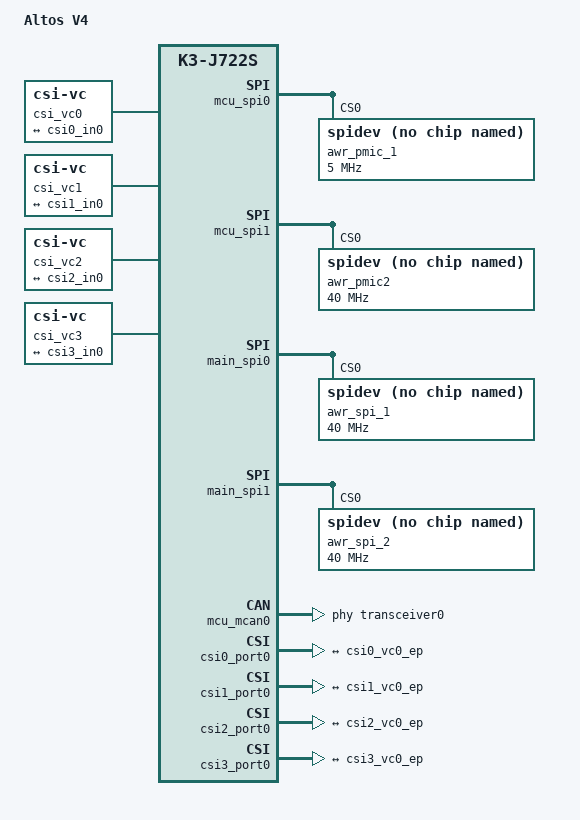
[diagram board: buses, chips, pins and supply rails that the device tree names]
// SPDX-License-Identifier: GPL-2.0-only OR MIT
/*
 * Device Tree file for Altos V4
 * Copyright (C) 2025 Altos Radar
 */

/dts-v1/;

#include "k3-j722s-altos-v3-base.dtsi"

/ {
	model = "Altos V4";
	csi_vc0: csi-vc0 {
		compatible = "csi-vc";
		port {
			csi0_vc0_ep: endpoint {
				remote-endpoint = <&csi0_in0>;
				clock-lanes = <0>;
				data-lanes = <1 2 3 4>;
			};
		};
	};

	csi_vc1: csi-vc1 {
		compatible = "csi-vc";
		port {
			csi1_vc0_ep: endpoint {
				remote-endpoint = <&csi1_in0>;
				clock-lanes = <0>;
				data-lanes = <1 2 3 4>;
			};
		};
	};

	csi_vc2: csi-vc2 {
		compatible = "csi-vc";
		port {
			csi2_vc0_ep: endpoint {
				remote-endpoint = <&csi2_in0>;
				clock-lanes = <0>;
				data-lanes = <1 2 3 4>;
			};
		};
	};

	csi_vc3: csi-vc3 {
		compatible = "csi-vc";
		port {
			csi3_vc0_ep: endpoint {
				remote-endpoint = <&csi3_in0>;
				clock-lanes = <0>;
				data-lanes = <1 2 3 4>;
			};
		};
	};
};

&main_pmx0 {
	main_spi0_pins_default: main-spi0-default-pins {
		pinctrl-single,pins = <
			J722S_IOPAD(0x01bc, PIN_OUTPUT, 0)	/* (D20) SPI0_CLK */
			J722S_IOPAD(0x01b4, PIN_OUTPUT, 0)	/* (B20) SPI0_CS0 */
			J722S_IOPAD(0x01c0, PIN_INPUT, 0)	/* (E19) SPI0_D0 */
			J722S_IOPAD(0x01c4, PIN_OUTPUT, 0)	/* (E20) SPI0_D1 */
			J722S_IOPAD(0x0088, PIN_INPUT, 7)	/* (N22) GPMC0_OEn_REn.GPIO0_33 */
			J722S_IOPAD(0x00a8, PIN_OUTPUT, 7)	/* (R27) GPMC0_CSn0.GPIO0_41 */
			J722S_IOPAD(0x01b8, PIN_INPUT, 7)	/* (C20) SPI0_CS1.GPIO1_16 */
		>;
	};

	main_spi1_pins_default: main-spi1-default-pins {
		pinctrl-single,pins = <
			J722S_IOPAD(0x0234, PIN_OUTPUT, 5)	/* (H24) MMC1_CLK.SPI1_CS0 */
			J722S_IOPAD(0x023c, PIN_OUTPUT, 5)	/* (H22) MMC1_CMD.SPI1_CLK */
			J722S_IOPAD(0x0228, PIN_OUTPUT, 5)	/* (J23) MMC1_DAT2.SPI1_D1 */
			J722S_IOPAD(0x0224, PIN_INPUT, 5)	/* (H25) MMC1_DAT3.SPI1_D0 */
			J722S_IOPAD(0x008c, PIN_INPUT, 7)	/* (N23) GPMC0_WEn.GPIO0_34 */
			J722S_IOPAD(0x00ac, PIN_OUTPUT, 7)	/* (P21) GPMC0_CSn1.GPIO0_42 */
			J722S_IOPAD(0x022c, PIN_INPUT, 7)	/* (H20) MMC1_DAT1.GPIO1_44 */
		>;
	};
};

&mcu_pmx0 {
	mcu_spi0_pins_default: mcu-spi0-default-pins {
		pinctrl-single,pins = <
			J722S_MCU_IOPAD(0x008, PIN_OUTPUT, 0)   /* (A9) MCU_SPI0_CLK */
			J722S_MCU_IOPAD(0x000, PIN_OUTPUT, 0)   /* (C12) MCU_SPI0_CS0 */
			J722S_MCU_IOPAD(0x00C, PIN_INPUT, 0)    /* (B12) MCU_SPI0_D0 */
			J722S_MCU_IOPAD(0x010, PIN_OUTPUT, 0)   /* (C11) MCU_SPI0_D1 */
		>;
	};

	mcu_spi1_pins_default: mcu-spi1-default-pins {
		pinctrl-single,pins = <
			J722S_MCU_IOPAD(0x040, PIN_OUTPUT, 4)	/* (B1) MCU_MCAN1_RX.MCU_SPI1_CLK */
			J722S_MCU_IOPAD(0x01c, PIN_INPUT, 3)	/* (B5) MCU_UART0_CTSN.MCU_SPI1_D0 */
			J722S_MCU_IOPAD(0x020, PIN_OUTPUT, 3)	/* (C5) MCU_UART0_RTSN.MCU_SPI1_D1 */
			J722S_MCU_IOPAD(0x02c, PIN_OUTPUT, 3)	/* (C4) WKUP_UART0_CTSN.MCU_SPI1_CS0 */
		>;
	};
};

&cpsw3g_phy0 {
	reset-gpios = <&mcu_gpio0 1 GPIO_ACTIVE_LOW>;
	reset-assert-us = <1000>;
	reset-deassert-us = <1000>;
};

&mcu_spi0 {
	status = "okay";
	pinctrl-names = "default";
	pinctrl-0 = <&mcu_spi0_pins_default>;
	ti,spi-num-cs = <1>;

	awr_pmic_1: spi@0 {
		compatible = "rohm,dh2228fv";
		reg = <0>;
		spi-max-frequency = <5000000>;
	};
};

&mcu_spi1 {
	status = "okay";
	pinctrl-names = "default";
	pinctrl-0 = <&mcu_spi1_pins_default>;
	ti,spi-num-cs = <1>;

	awr_pmic2: spi@0 {
		compatible = "rohm,dh2228fv";
		reg = <0>;
		spi-max-frequency = <40000000>;
	};
};

&main_spi0 {
	status = "okay";
	pinctrl-names = "default";
	pinctrl-0 = <&main_spi0_pins_default>;
	ti,spi-num-cs = <1>;

	awr_spi_1: spi@0 {
		compatible = "rohm,dh2228fv";
		reg = <0>;
		spi-max-frequency = <40000000>;
	};
};

&main_spi1 {
	status = "okay";
	pinctrl-names = "default";
	pinctrl-0 = <&main_spi1_pins_default>;
	ti,spi-num-cs = <1>;

	awr_spi_2: spi@0 {
		compatible = "rohm,dh2228fv";
		reg = <0>;
		spi-max-frequency = <40000000>;
	};
};

&mcu_mcan0 {
	status = "okay";
	pinctrl-names = "default";
	pinctrl-0 = <&mcu_mcan0_pins_default>;
	phys = <&transceiver0>;
};

&csi0_port0 {
	status = "okay";

	csi0_in0: endpoint {
		remote-endpoint = <&csi0_vc0_ep>;
		bus-type = <4>; /* CSI2 DPHY */
		clock-lanes = <0>;
		data-lanes = <1 2 3 4>;
	};
};

&csi1_port0 {
	status = "okay";

	csi1_in0: endpoint {
		remote-endpoint = <&csi1_vc0_ep>;
		bus-type = <4>; /* CSI2 DPHY */
		clock-lanes = <0>;
		data-lanes = <1 2 3 4>;
	};
};

&csi2_port0 {
	status = "okay";

	csi2_in0: endpoint {
		remote-endpoint = <&csi2_vc0_ep>;
		bus-type = <4>; /* CSI2 DPHY */
		clock-lanes = <0>;
		data-lanes = <1 2 3 4>;
	};
};

&csi3_port0 {
	status = "okay";

	csi3_in0: endpoint {
		remote-endpoint = <&csi3_vc0_ep>;
		bus-type = <4>; /* CSI2 DPHY */
		clock-lanes = <0>;
		data-lanes = <1 2 3 4>;
	};
};
